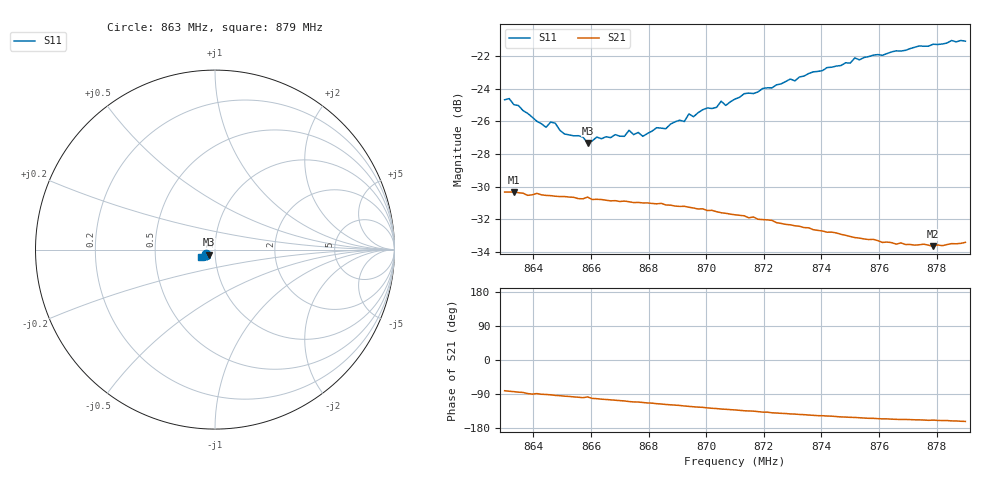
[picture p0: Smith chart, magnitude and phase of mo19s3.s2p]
# HZ S RI R 50
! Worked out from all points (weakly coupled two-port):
!   101 points, 863 MHz to 879 MHz, reference 50 ohm
!   highest |S21| = -30.33 dB at 863.32 MHz (marker M1); lowest = -33.6 dB at 877.88 MHz (marker M2)
!   lowest |S11| = -27.3 dB at 865.88 MHz (marker M3), VSWR 1.09, Z = 46.8 - j2.63 ohm
!   |S11| at or under -10 dB: start of sweep to end of sweep
!   S12 and S22 are empty: the file has one direction only
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8.63e8  -0.0516 -0.0272  0.0047 -0.0301  0 0  0 0
8.6316e8  -0.0519 -0.0277  0.004 -0.0302  0 0  0 0
8.6332e8  -0.0496 -0.0268  0.00347 -0.0302  0 0  0 0
8.6444e8  -0.0406 -0.0257  -0.00048 -0.0297  0 0  0 0
8.6476e8  -0.0406 -0.0282  -0.00175 -0.0295  0 0  0 0
8.6508e8  -0.0368 -0.0273  -0.0028 -0.0294  0 0  0 0
8.6572e8  -0.0336 -0.0297  -0.00474 -0.0286  0 0  0 0
8.6588e8  -0.0327 -0.028  -0.00381 -0.0291  0 0  0 0
8.662e8  -0.0321 -0.0313  -0.00605 -0.0283  0 0  0 0
8.6716e8  -0.0292 -0.0343  -0.00884 -0.0272  0 0  0 0
8.6732e8  -0.0306 -0.0357  -0.00957 -0.0268  0 0  0 0
8.678e8  -0.0279 -0.0354  -0.0106 -0.0261  0 0  0 0
8.6844e8  -0.027 -0.0394  -0.0124 -0.0252  0 0  0 0
8.6924e8  -0.0277 -0.0417  -0.0143 -0.0235  0 0  0 0
8.694e8  -0.0292 -0.044  -0.0146 -0.0231  0 0  0 0
8.6956e8  -0.0282 -0.0435  -0.015 -0.0227  0 0  0 0
8.7052e8  -0.0314 -0.0485  -0.0167 -0.0203  0 0  0 0
8.71e8  -0.0322 -0.049  -0.0173 -0.0193  0 0  0 0
8.7372e8  -0.0435 -0.0562  -0.0193 -0.013  0 0  0 0
8.7644e8  -0.0624 -0.0529  -0.0195 -0.00861  0 0  0 0
8.7788e8  -0.0724 -0.0471  -0.0193 -0.00758  0 0  0 0
8.79e8  -0.078 -0.0413  -0.0203 -0.00658  0 0  0 0
